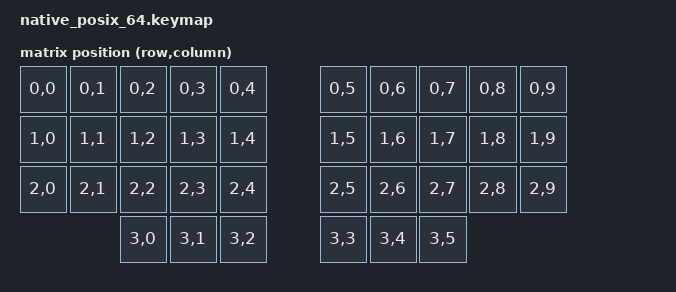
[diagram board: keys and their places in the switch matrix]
#include <dt-bindings/zmk/matrix_transform.h>
#include <dt-bindings/zmk/kscan_mock.h>

/ {
    chosen {
        zmk,matrix-transform = &transform;
    };

    /* op36 position N is RC(N/10, N%10); thumbs 30..35 are row 3. */
    transform: keymap_transform {
        compatible = "zmk,matrix-transform";
        columns = <10>;
        rows = <4>;
        map = <
            RC(0,0) RC(0,1) RC(0,2) RC(0,3) RC(0,4) RC(0,5) RC(0,6) RC(0,7) RC(0,8) RC(0,9)
            RC(1,0) RC(1,1) RC(1,2) RC(1,3) RC(1,4) RC(1,5) RC(1,6) RC(1,7) RC(1,8) RC(1,9)
            RC(2,0) RC(2,1) RC(2,2) RC(2,3) RC(2,4) RC(2,5) RC(2,6) RC(2,7) RC(2,8) RC(2,9)
            RC(3,0) RC(3,1) RC(3,2) RC(3,3) RC(3,4) RC(3,5)
        >;
    };
};&kscan {
    rows = <4>;
    columns = <10>;
    events = <
        /* lead-in so require-prior-idle-ms sees real idle time */
        ZMK_MOCK_PRESS(0,1,10)
        ZMK_MOCK_RELEASE(0,1,400)

        /* strike cmbru, thumbs 31+34, to leave en for ru */
        ZMK_MOCK_PRESS(3,1,5)
        ZMK_MOCK_PRESS(3,4,20)
        ZMK_MOCK_RELEASE(3,1,10)
        ZMK_MOCK_RELEASE(3,4,300)

        /* hold Space (pos 31) past the tapping term to raise numbers_ru */
        ZMK_MOCK_PRESS(3,1,300)

        /* unshifted first: pos 27 is still a plain 2 (0x1F, no implicit mods) */
        ZMK_MOCK_PRESS(2,7,30)
        ZMK_MOCK_RELEASE(2,7,30)

        /* now hold the left Shift (pos 11) and walk the morphs. Each one has to
           come out as Option+digit — implicit_mods 0x04 — because that is where
           "Русская" keeps the English symbol. Shift+digit there would give the
           Cyrillic punctuation instead. */
        ZMK_MOCK_PRESS(1,1,30)

        /* pos 27 -> @, Option+2 */
        ZMK_MOCK_PRESS(2,7,30)
        ZMK_MOCK_RELEASE(2,7,30)

        /* pos 17 -> %, Option+5 */
        ZMK_MOCK_PRESS(1,7,30)
        ZMK_MOCK_RELEASE(1,7,30)

        /* pos 7 -> *, Option+8 */
        ZMK_MOCK_PRESS(0,7,30)
        ZMK_MOCK_RELEASE(0,7,30)

        /* pos 26 -> !, and pos 8 -> ( : these two carry no morph, because
           Shift+1 and Shift+9 already agree between ABC and "Русская". They
           must arrive as bare digits with the Shift left to the host. */
        ZMK_MOCK_PRESS(2,6,30)
        ZMK_MOCK_RELEASE(2,6,30)
        ZMK_MOCK_PRESS(0,8,30)
        ZMK_MOCK_RELEASE(0,8,30)

        ZMK_MOCK_RELEASE(1,1,30)

        /* The shortcut case, and the reason the morphs are nested. Cmd (pos 13)
           and Shift (pos 11) held together over a digit must reach the host as
           Cmd+Shift+digit — a plain 0x21 with implicit_mods 0x00 — and not as
           Cmd+Option+digit. A single mod-morph gave the latter, because its
           condition is a bitwise AND and fires on any Shift, which broke every
           screenshot shortcut on ru while leaving en untouched.

           pos 16 is 4, pos 27 is 2; both must behave. */
        ZMK_MOCK_PRESS(1,3,30)
        ZMK_MOCK_PRESS(1,1,30)
        ZMK_MOCK_PRESS(1,6,30)
        ZMK_MOCK_RELEASE(1,6,30)
        ZMK_MOCK_PRESS(2,7,30)
        ZMK_MOCK_RELEASE(2,7,30)
        ZMK_MOCK_RELEASE(1,1,30)
        ZMK_MOCK_RELEASE(1,3,30)

        ZMK_MOCK_RELEASE(3,1,400)
    >;
};

#include "/cfg/op36_ruen.keymap"
